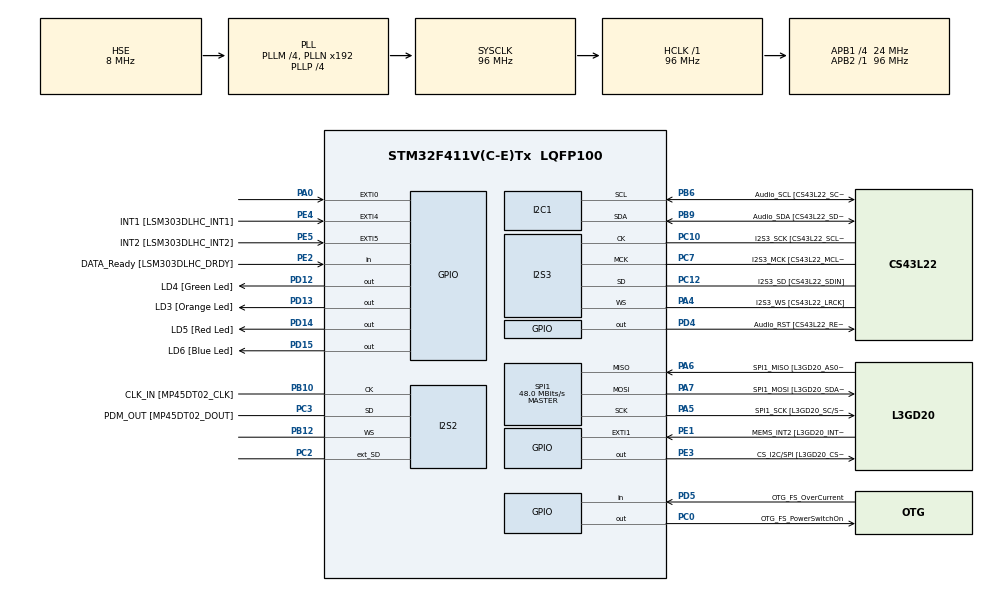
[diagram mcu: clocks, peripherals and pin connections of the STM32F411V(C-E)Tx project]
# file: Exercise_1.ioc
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FREERTOS.Tasks01=defaultTask,0,128,StartDefaultTask,Default,NULL
I2S2.AudioFreq=I2S_AUDIOFREQ_96K
I2S2.ErrorAudioFreq=0.15 %
I2S2.FullDuplexMode=I2S_FULLDUPLEXMODE_ENABLE
I2S2.Instance=SPI$Index
I2S2.RealAudioFreq=96.153 KHz
I2S2.VirtualMode=I2S_MODE_MASTER
I2S3.AudioFreq=I2S_AUDIOFREQ_96K
I2S3.ErrorAudioFreq=-6.99 %
I2S3.FullDuplexMode=I2S_FULLDUPLEXMODE_DISABLE
I2S3.Instance=SPI$Index
I2S3.RealAudioFreq=89.285 KHz
I2S3.VirtualMode=I2S_MODE_MASTER
Mcu.Family=STM32F4
Mcu.Name=STM32F411V(C-E)Tx
Mcu.Package=LQFP100
NVIC.PriorityGroup=NVIC_PRIORITYGROUP_4
NVIC.TIM1_UP_TIM10_IRQn=true\:0\:0\:false\:false\:true\:false\:false\:true
NVIC.TimeBase=TIM1_UP_TIM10_IRQn
NVIC.TimeBaseIP=TIM1
PA0-WKUP.GPIO_ModeDefaultEXTI=GPIO_MODE_EVT_RISING
PA0-WKUP.Signal=GPXTI0
PA10.GPIO_Label=OTG_FS_ID
PA10.Signal=USB_OTG_FS_ID
PA11.GPIO_Label=OTG_FS_DM
PA11.Signal=USB_OTG_FS_DM
PA12.GPIO_Label=OTG_FS_DP
PA12.Signal=USB_OTG_FS_DP
PA13.GPIO_Label=SWDIO
PA13.Mode=Serial_Wire
PA13.Signal=SYS_JTMS-SWDIO
PA14.GPIO_Label=SWCLK
PA14.Mode=Serial_Wire
PA14.Signal=SYS_JTCK-SWCLK
PA4.GPIO_Label=I2S3_WS [CS43L22_LRCK]
PA4.GPIO_Mode=GPIO_MODE_AF_PP
PA4.GPIO_PuPd=GPIO_NOPULL
PA4.GPIO_Speed=GPIO_SPEED_FREQ_LOW
PA4.Mode=Half_Duplex_Master
PA4.Signal=I2S3_WS
PA5.GPIO_Label=SPI1_SCK [L3GD20_SC/SPC]
PA5.Mode=Full_Duplex_Master
PA5.Signal=SPI1_SCK
PA6.GPIO_Label=SPI1_MISO [L3GD20_AS0/SDO]
PA6.Mode=Full_Duplex_Master
PA6.Signal=SPI1_MISO
PA7.GPIO_Label=SPI1_MOSI [L3GD20_SDA/SDI/SDO]
PA7.Mode=Full_Duplex_Master
PA7.Signal=SPI1_MOSI
PA9.GPIO_Label=VBUS_FS
PA9.Signal=USB_OTG_FS_VBUS
PB10.GPIO_Label=CLK_IN [MP45DT02_CLK]
PB10.Mode=Full_Duplex_Master
PB10.Signal=I2S2_CK
PB12.Mode=Full_Duplex_Master
PB12.Signal=I2S2_WS
PB3.GPIO_Label=SWO
PB3.Signal=SYS_JTDO-SWO
PB6.GPIO_Label=Audio_SCL [CS43L22_SCL]
PB6.GPIO_Mode=GPIO_MODE_AF_OD
PB6.GPIO_PuPd=GPIO_NOPULL
PB6.GPIO_Speed=GPIO_SPEED_FREQ_LOW
PB6.Mode=I2C
PB6.Signal=I2C1_SCL
PB9.GPIO_Label=Audio_SDA [CS43L22_SDA]
PB9.GPIO_Mode=GPIO_MODE_AF_OD
PB9.GPIO_PuPd=GPIO_NOPULL
PB9.GPIO_Speed=GPIO_SPEED_FREQ_LOW
PB9.Mode=I2C
PB9.Signal=I2C1_SDA
PC0.GPIO_Label=OTG_FS_PowerSwitchOn
PC0.PinState=GPIO_PIN_SET
PC0.Signal=GPIO_Output
PC10.GPIO_Label=I2S3_SCK [CS43L22_SCLK]
PC10.GPIO_Mode=GPIO_MODE_AF_PP
PC10.GPIO_PuPd=GPIO_NOPULL
PC10.GPIO_Speed=GPIO_SPEED_FREQ_LOW
PC10.Mode=Half_Duplex_Master
PC10.Signal=I2S3_CK
PC12.GPIO_Label=I2S3_SD [CS43L22_SDIN]
PC12.GPIO_Mode=GPIO_MODE_AF_PP
PC12.GPIO_PuPd=GPIO_NOPULL
PC12.GPIO_Speed=GPIO_SPEED_FREQ_LOW
PC12.Mode=Half_Duplex_Master
PC12.Signal=I2S3_SD
PC14-OSC32_IN.GPIO_Label=PC14-OSC32_IN
PC14-OSC32_IN.Mode=LSE-External-Oscillator
PC14-OSC32_IN.Signal=RCC_OSC32_IN
PC15-OSC32_OUT.GPIO_Label=PC15-OSC32_OUT
PC15-OSC32_OUT.Mode=LSE-External-Oscillator
PC15-OSC32_OUT.Signal=RCC_OSC32_OUT
PC2.Mode=Full_Duplex_Master
PC2.Signal=I2S2_ext_SD
PC3.GPIO_Label=PDM_OUT [MP45DT02_DOUT]
PC3.Mode=Full_Duplex_Master
PC3.Signal=I2S2_SD
PC7.GPIO_Label=I2S3_MCK [CS43L22_MCLK]
PC7.GPIO_Mode=GPIO_MODE_AF_PP
PC7.GPIO_PuPd=GPIO_NOPULL
PC7.GPIO_Speed=GPIO_SPEED_FREQ_LOW
PC7.Mode=Master_Clock_Activated
PC7.Signal=I2S3_MCK
PD12.GPIO_Label=LD4 [Green Led]
PD12.GPIO_PuPd=GPIO_NOPULL
PD12.GPIO_Speed=GPIO_SPEED_FREQ_LOW
PD12.Signal=GPIO_Output
PD13.GPIO_Label=LD3 [Orange Led]
PD13.GPIO_PuPd=GPIO_NOPULL
PD13.GPIO_Speed=GPIO_SPEED_FREQ_LOW
PD13.Signal=GPIO_Output
PD14.GPIO_Label=LD5 [Red Led]
PD14.GPIO_PuPd=GPIO_NOPULL
PD14.GPIO_Speed=GPIO_SPEED_FREQ_LOW
PD14.Signal=GPIO_Output
PD15.GPIO_Label=LD6 [Blue Led]
PD15.GPIO_PuPd=GPIO_NOPULL
PD15.GPIO_Speed=GPIO_SPEED_FREQ_LOW
PD15.Signal=GPIO_Output
PD4.GPIO_Label=Audio_RST [CS43L22_RESET]
PD4.Signal=GPIO_Output
PD5.GPIO_Label=OTG_FS_OverCurrent
PD5.Signal=GPIO_Input
PE1.GPIO_Label=MEMS_INT2 [L3GD20_INT2]
PE1.GPIO_ModeDefaultEXTI=GPIO_MODE_EVT_RISING
PE1.Signal=GPXTI1
PE2.GPIO_Label=DATA_Ready [LSM303DLHC_DRDY]
PE2.Signal=GPIO_Input
PE3.GPIO_Label=CS_I2C/SPI [L3GD20_CS_I2C/SPI]
PE3.Signal=GPIO_Output
PE4.GPIO_Label=INT1 [LSM303DLHC_INT1]
PE4.GPIO_ModeDefaultEXTI=GPIO_MODE_EVT_RISING
PE4.Signal=GPXTI4
PE5.GPIO_Label=INT2 [LSM303DLHC_INT2]
PE5.GPIO_ModeDefaultEXTI=GPIO_MODE_EVT_RISING
PE5.Signal=GPXTI5
PH0\ -\ OSC_IN.GPIO_Label=PH0-OSC_IN
PH0\ -\ OSC_IN.Mode=HSE-External-Oscillator
PH0\ -\ OSC_IN.Signal=RCC_OSC_IN
PH1\ -\ OSC_OUT.GPIO_Label=PH1-OSC_OUT
PH1\ -\ OSC_OUT.Mode=HSE-External-Oscillator
PH1\ -\ OSC_OUT.Signal=RCC_OSC_OUT
ProjectManager.HeapSize=0x200
ProjectManager.StackSize=0x400
ProjectManager.TargetToolchain=STM32CubeIDE
RCC.48MHZClocksFreq_Value=48000000
RCC.AHBFreq_Value=96000000
RCC.APB1CLKDivider=RCC_HCLK_DIV4
RCC.APB1Freq_Value=24000000
RCC.APB1TimFreq_Value=48000000
RCC.APB2Freq_Value=96000000
RCC.APB2TimFreq_Value=96000000
RCC.CortexFreq_Value=96000000
RCC.HCLKFreq_Value=96000000
RCC.HSE_VALUE=8000000
RCC.HSI_VALUE=16000000
RCC.PLLI2SM=5
RCC.PLLI2SN=200
RCC.PLLM=4
RCC.PLLP=RCC_PLLP_DIV4
RCC.PLLQ=8
RCC.PLLSourceVirtual=RCC_PLLSOURCE_HSE
RCC.SYSCLKFreq_VALUE=96000000
RCC.SYSCLKSource=RCC_SYSCLKSOURCE_PLLCLK
RCC.VCOOutputFreq_Value=384000000
SPI1.BaudRatePrescaler=SPI_BAUDRATEPRESCALER_2
SPI1.CalculateBaudRate=48.0 MBits/s
SPI1.Direction=SPI_DIRECTION_2LINES
SPI1.Mode=SPI_MODE_MASTER
SPI1.VirtualType=VM_MASTER
VP_FREERTOS_VS_CMSIS_V1.Mode=CMSIS_V1
VP_SYS_VS_tim1.Mode=TIM1
board=STM32F411E-DISCO

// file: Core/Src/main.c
/* USER CODE BEGIN Header */
/**
  ******************************************************************************
  * @file           : main.c
  * @brief          : Main program body
  ******************************************************************************
  * @attention
  *
  * <h2><center>&copy; Copyright (c) 2024 STMicroelectronics.
  * All rights reserved.</center></h2>
  *
  * This software component is licensed by ST under Ultimate Liberty license
  * SLA0044, the "License"; You may not use this file except in compliance with
  * the License. You may obtain a copy of the License at:
  *                             www.st.com/SLA0044
  *
  ******************************************************************************
  */
/* USER CODE END Header */

#include "main.h"
#include "cmsis_os.h"

/* USER CODE BEGIN PD */
#define SW_1 0
#define OS_1 1
#define VS_1 2
#define MS_1 3
#define DELAY MS_1

#define GREEN_LED   GPIO_PIN_12
#define ORANGE_LED  GPIO_PIN_13
#define RED_LED     GPIO_PIN_14
#define BLUE_LED    GPIO_PIN_15
/* USER CODE END PD */

I2C_HandleTypeDef hi2c1;

I2S_HandleTypeDef hi2s2;
I2S_HandleTypeDef hi2s3;

SPI_HandleTypeDef hspi1;

osThreadId defaultTaskHandle;

void SystemClock_Config(void);
static void MX_GPIO_Init(void);
static void MX_I2C1_Init(void);
static void MX_I2S2_Init(void);
static void MX_I2S3_Init(void);
static void MX_SPI1_Init(void);
void StartDefaultTask(void const * argument);

int main(void)
{

  /* MCU Configuration--------------------------------------------------------*/

  /* Reset of all peripherals, Initializes the Flash interface and the Systick. */
  HAL_Init();

  /* Configure the system clock */
  SystemClock_Config();

  /* Initialize all configured peripherals */
  MX_GPIO_Init();
  MX_I2C1_Init();
  MX_I2S2_Init();
  MX_I2S3_Init();
  MX_SPI1_Init();

  /* Create the thread(s) */
  /* definition and creation of defaultTask */
  osThreadDef(defaultTask, StartDefaultTask, osPriorityNormal, 0, 128);
  defaultTaskHandle = osThreadCreate(osThread(defaultTask), NULL);

  /* Start scheduler */
  osKernelStart();

  /* We should never get here as control is now taken by the scheduler */

  /* Infinite loop */
  while (1)
  {

  }
}

void SystemClock_Config(void)
{
  RCC_OscInitTypeDef RCC_OscInitStruct = {0};
  RCC_ClkInitTypeDef RCC_ClkInitStruct = {0};
  RCC_PeriphCLKInitTypeDef PeriphClkInitStruct = {0};

  /** Configure the main internal regulator output voltage
  */
  __HAL_RCC_PWR_CLK_ENABLE();
  __HAL_PWR_VOLTAGESCALING_CONFIG(PWR_REGULATOR_VOLTAGE_SCALE1);
  /** Initializes the CPU, AHB and APB busses clocks
  */
  RCC_OscInitStruct.OscillatorType = RCC_OSCILLATORTYPE_HSE;
  RCC_OscInitStruct.HSEState = RCC_HSE_ON;
  RCC_OscInitStruct.PLL.PLLState = RCC_PLL_ON;
  RCC_OscInitStruct.PLL.PLLSource = RCC_PLLSOURCE_HSE;
  RCC_OscInitStruct.PLL.PLLM = 4;
  RCC_OscInitStruct.PLL.PLLN = 192;
  RCC_OscInitStruct.PLL.PLLP = RCC_PLLP_DIV4;
  RCC_OscInitStruct.PLL.PLLQ = 8;
  if (HAL_RCC_OscConfig(&RCC_OscInitStruct) != HAL_OK)
  {
    Error_Handler();
  }
  /** Initializes the CPU, AHB and APB busses clocks
  */
  RCC_ClkInitStruct.ClockType = RCC_CLOCKTYPE_HCLK|RCC_CLOCKTYPE_SYSCLK
                              |RCC_CLOCKTYPE_PCLK1|RCC_CLOCKTYPE_PCLK2;
  RCC_ClkInitStruct.SYSCLKSource = RCC_SYSCLKSOURCE_PLLCLK;
  RCC_ClkInitStruct.AHBCLKDivider = RCC_SYSCLK_DIV1;
  RCC_ClkInitStruct.APB1CLKDivider = RCC_HCLK_DIV4;
  RCC_ClkInitStruct.APB2CLKDivider = RCC_HCLK_DIV1;

  if (HAL_RCC_ClockConfig(&RCC_ClkInitStruct, FLASH_LATENCY_3) != HAL_OK)
  {
    Error_Handler();
  }
  PeriphClkInitStruct.PeriphClockSelection = RCC_PERIPHCLK_I2S;
  PeriphClkInitStruct.PLLI2S.PLLI2SN = 200;
  PeriphClkInitStruct.PLLI2S.PLLI2SM = 5;
  PeriphClkInitStruct.PLLI2S.PLLI2SR = 2;
  if (HAL_RCCEx_PeriphCLKConfig(&PeriphClkInitStruct) != HAL_OK)
  {
    Error_Handler();
  }
}

static void MX_I2C1_Init(void)
{

  hi2c1.Instance = I2C1;
  hi2c1.Init.ClockSpeed = 100000;
  hi2c1.Init.DutyCycle = I2C_DUTYCYCLE_2;
  hi2c1.Init.OwnAddress1 = 0;
  hi2c1.Init.AddressingMode = I2C_ADDRESSINGMODE_7BIT;
  hi2c1.Init.DualAddressMode = I2C_DUALADDRESS_DISABLE;
  hi2c1.Init.OwnAddress2 = 0;
  hi2c1.Init.GeneralCallMode = I2C_GENERALCALL_DISABLE;
  hi2c1.Init.NoStretchMode = I2C_NOSTRETCH_DISABLE;
  if (HAL_I2C_Init(&hi2c1) != HAL_OK)
  {
    Error_Handler();
  }

}

static void MX_I2S2_Init(void)
{

  hi2s2.Instance = SPI2;
  hi2s2.Init.Mode = I2S_MODE_MASTER_TX;
  hi2s2.Init.Standard = I2S_STANDARD_PHILIPS;
  hi2s2.Init.DataFormat = I2S_DATAFORMAT_16B;
  hi2s2.Init.MCLKOutput = I2S_MCLKOUTPUT_DISABLE;
  hi2s2.Init.AudioFreq = I2S_AUDIOFREQ_96K;
  hi2s2.Init.CPOL = I2S_CPOL_LOW;
  hi2s2.Init.ClockSource = I2S_CLOCK_PLL;
  hi2s2.Init.FullDuplexMode = I2S_FULLDUPLEXMODE_ENABLE;
  if (HAL_I2S_Init(&hi2s2) != HAL_OK)
  {
    Error_Handler();
  }

}

static void MX_I2S3_Init(void)
{

  hi2s3.Instance = SPI3;
  hi2s3.Init.Mode = I2S_MODE_MASTER_TX;
  hi2s3.Init.Standard = I2S_STANDARD_PHILIPS;
  hi2s3.Init.DataFormat = I2S_DATAFORMAT_16B;
  hi2s3.Init.MCLKOutput = I2S_MCLKOUTPUT_ENABLE;
  hi2s3.Init.AudioFreq = I2S_AUDIOFREQ_96K;
  hi2s3.Init.CPOL = I2S_CPOL_LOW;
  hi2s3.Init.ClockSource = I2S_CLOCK_PLL;
  hi2s3.Init.FullDuplexMode = I2S_FULLDUPLEXMODE_DISABLE;
  if (HAL_I2S_Init(&hi2s3) != HAL_OK)
  {
    Error_Handler();
  }

}

static void MX_SPI1_Init(void)
{

  /* SPI1 parameter configuration*/
  hspi1.Instance = SPI1;
  hspi1.Init.Mode = SPI_MODE_MASTER;
  hspi1.Init.Direction = SPI_DIRECTION_2LINES;
  hspi1.Init.DataSize = SPI_DATASIZE_8BIT;
  hspi1.Init.CLKPolarity = SPI_POLARITY_LOW;
  hspi1.Init.CLKPhase = SPI_PHASE_1EDGE;
  hspi1.Init.NSS = SPI_NSS_SOFT;
  hspi1.Init.BaudRatePrescaler = SPI_BAUDRATEPRESCALER_2;
  hspi1.Init.FirstBit = SPI_FIRSTBIT_MSB;
  hspi1.Init.TIMode = SPI_TIMODE_DISABLE;
  hspi1.Init.CRCCalculation = SPI_CRCCALCULATION_DISABLE;
  hspi1.Init.CRCPolynomial = 10;
  if (HAL_SPI_Init(&hspi1) != HAL_OK)
  {
    Error_Handler();
  }

}

static void MX_GPIO_Init(void)
{
  GPIO_InitTypeDef GPIO_InitStruct = {0};

  /* GPIO Ports Clock Enable */
  __HAL_RCC_GPIOE_CLK_ENABLE();
  __HAL_RCC_GPIOC_CLK_ENABLE();
  __HAL_RCC_GPIOH_CLK_ENABLE();
  __HAL_RCC_GPIOA_CLK_ENABLE();
  __HAL_RCC_GPIOB_CLK_ENABLE();
  __HAL_RCC_GPIOD_CLK_ENABLE();

  /*Configure GPIO pin Output Level */
  HAL_GPIO_WritePin(CS_I2C_SPI_GPIO_Port, CS_I2C_SPI_Pin, GPIO_PIN_RESET);

  /*Configure GPIO pin Output Level */
  HAL_GPIO_WritePin(OTG_FS_PowerSwitchOn_GPIO_Port, OTG_FS_PowerSwitchOn_Pin, GPIO_PIN_SET);

  /*Configure GPIO pin Output Level */
  HAL_GPIO_WritePin(GPIOD, LD4_Pin|LD3_Pin|LD5_Pin|LD6_Pin
                          |Audio_RST_Pin, GPIO_PIN_RESET);

  /*Configure GPIO pin : DATA_Ready_Pin */
  GPIO_InitStruct.Pin = DATA_Ready_Pin;
  GPIO_InitStruct.Mode = GPIO_MODE_INPUT;
  GPIO_InitStruct.Pull = GPIO_NOPULL;
  HAL_GPIO_Init(DATA_Ready_GPIO_Port, &GPIO_InitStruct);

  /*Configure GPIO pin : CS_I2C_SPI_Pin */
  GPIO_InitStruct.Pin = CS_I2C_SPI_Pin;
  GPIO_InitStruct.Mode = GPIO_MODE_OUTPUT_PP;
  GPIO_InitStruct.Pull = GPIO_NOPULL;
  GPIO_InitStruct.Speed = GPIO_SPEED_FREQ_LOW;
  HAL_GPIO_Init(CS_I2C_SPI_GPIO_Port, &GPIO_InitStruct);

  /*Configure GPIO pins : INT1_Pin INT2_Pin MEMS_INT2_Pin */
  GPIO_InitStruct.Pin = INT1_Pin|INT2_Pin|MEMS_INT2_Pin;
  GPIO_InitStruct.Mode = GPIO_MODE_EVT_RISING;
  GPIO_InitStruct.Pull = GPIO_NOPULL;
  HAL_GPIO_Init(GPIOE, &GPIO_InitStruct);

  /*Configure GPIO pin : OTG_FS_PowerSwitchOn_Pin */
  GPIO_InitStruct.Pin = OTG_FS_PowerSwitchOn_Pin;
  GPIO_InitStruct.Mode = GPIO_MODE_OUTPUT_PP;
  GPIO_InitStruct.Pull = GPIO_NOPULL;
  GPIO_InitStruct.Speed = GPIO_SPEED_FREQ_LOW;
  HAL_GPIO_Init(OTG_FS_PowerSwitchOn_GPIO_Port, &GPIO_InitStruct);

  /*Configure GPIO pin : PA0 */
  GPIO_InitStruct.Pin = GPIO_PIN_0;
  GPIO_InitStruct.Mode = GPIO_MODE_EVT_RISING;
  GPIO_InitStruct.Pull = GPIO_NOPULL;
  HAL_GPIO_Init(GPIOA, &GPIO_InitStruct);

  /*Configure GPIO pins : LD4_Pin LD3_Pin LD5_Pin LD6_Pin
                           Audio_RST_Pin */
  GPIO_InitStruct.Pin = LD4_Pin|LD3_Pin|LD5_Pin|LD6_Pin
                          |Audio_RST_Pin;
  GPIO_InitStruct.Mode = GPIO_MODE_OUTPUT_PP;
  GPIO_InitStruct.Pull = GPIO_NOPULL;
  GPIO_InitStruct.Speed = GPIO_SPEED_FREQ_LOW;
  HAL_GPIO_Init(GPIOD, &GPIO_InitStruct);

  /*Configure GPIO pin : VBUS_FS_Pin */
  GPIO_InitStruct.Pin = VBUS_FS_Pin;
  GPIO_InitStruct.Mode = GPIO_MODE_INPUT;
  GPIO_InitStruct.Pull = GPIO_NOPULL;
  HAL_GPIO_Init(VBUS_FS_GPIO_Port, &GPIO_InitStruct);

  /*Configure GPIO pins : OTG_FS_ID_Pin OTG_FS_DM_Pin OTG_FS_DP_Pin */
  GPIO_InitStruct.Pin = OTG_FS_ID_Pin|OTG_FS_DM_Pin|OTG_FS_DP_Pin;
  GPIO_InitStruct.Mode = GPIO_MODE_AF_PP;
  GPIO_InitStruct.Pull = GPIO_NOPULL;
  GPIO_InitStruct.Speed = GPIO_SPEED_FREQ_VERY_HIGH;
  GPIO_InitStruct.Alternate = GPIO_AF10_OTG_FS;
  HAL_GPIO_Init(GPIOA, &GPIO_InitStruct);

  /*Configure GPIO pin : OTG_FS_OverCurrent_Pin */
  GPIO_InitStruct.Pin = OTG_FS_OverCurrent_Pin;
  GPIO_InitStruct.Mode = GPIO_MODE_INPUT;
  GPIO_InitStruct.Pull = GPIO_NOPULL;
  HAL_GPIO_Init(OTG_FS_OverCurrent_GPIO_Port, &GPIO_InitStruct);

}

void StartDefaultTask(void const * argument)
{
  /* USER CODE BEGIN 5 */
  /* Infinite loop */
  for(;;)
  {
#if(DELAY == SW_1)
	  HAL_GPIO_WritePin(GPIOD, RED_LED, GPIO_PIN_SET);
	  for(int i= 0; i<2000000; i++);
	  HAL_GPIO_WritePin(GPIOD, RED_LED, GPIO_PIN_RESET);
	  for(int i= 0; i<500000; i++);
#elif(DELAY == OS_1)
	  HAL_GPIO_WritePin(GPIOD, RED_LED, GPIO_PIN_SET);
	  osDelay(2000);
	  HAL_GPIO_WritePin(GPIOD, RED_LED, GPIO_PIN_RESET);
	  osDelay(500);
#elif(DELAY == VS_1)
	  HAL_GPIO_WritePin(GPIOD, RED_LED, GPIO_PIN_SET);
	  vTaskDelay(2000);
	  HAL_GPIO_WritePin(GPIOD, RED_LED, GPIO_PIN_RESET);
      vTaskDelay(500);
#elif(DELAY == MS_1)
      HAL_GPIO_WritePin(GPIOD, RED_LED, GPIO_PIN_SET);
      for(int i= 0; i<1000000; i++);
      vTaskDelay(2000);
      HAL_GPIO_WritePin(GPIOD, RED_LED, GPIO_PIN_RESET);
      vTaskDelay(500);
#else
	  osDelay(1);
#endif
  }
  /* USER CODE END 5 */
}

void HAL_TIM_PeriodElapsedCallback(TIM_HandleTypeDef *htim)
{
  if (htim->Instance == TIM1) {
    HAL_IncTick();
  }
}

void Error_Handler(void)
{
}

/************************ (C) COPYRIGHT STMicroelectronics *****END OF FILE****/
